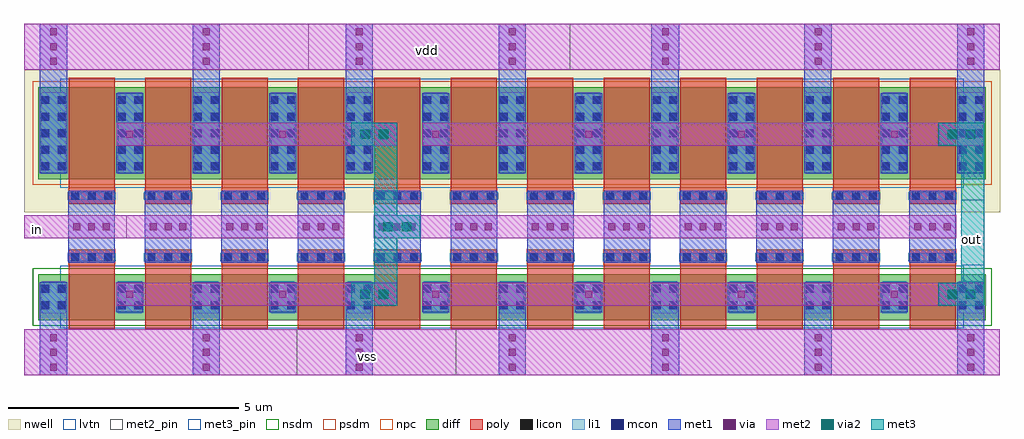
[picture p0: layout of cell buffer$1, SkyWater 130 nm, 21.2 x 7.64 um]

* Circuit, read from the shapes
.subckt buffer$1 in out vdd vss
XM1 n1 in vss VSUBS sky130_fd_pr__nfet_01v8_lvt w=1 l=1 m=4
XM2 out n1 vss VSUBS sky130_fd_pr__nfet_01v8_lvt w=1 l=1 m=8
XM3 n1 in vdd n2 sky130_fd_pr__pfet_01v8_lvt w=2 l=1 m=4
XM4 out n1 vdd n2 sky130_fd_pr__pfet_01v8_lvt w=2 l=1 m=8
.ends

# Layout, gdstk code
from math import pi, radians
import gdstk
lib = gdstk.Library(unit=1e-6, precision=5e-09)
def R(c, l, rs):  # rectangles x0, y0, x1, y1
    for r in rs: c.add(gdstk.rectangle(r[:2], r[2:], *l))
def A(c, l, x, y, w, h, nx, ny, dx, dy):  # array of equal rectangles
    R(c, l, [(x+i*dx, y+j*dy, x+i*dx+w, y+j*dy+h) for i in range(nx) for j in range(ny)])
nwell = (64, 20)
diff = (65, 20)
poly = (66, 20)
licon = (66, 44)
li1 = (67, 20)
mcon = (67, 44)
met1 = (68, 20)
via = (68, 44)
met2_pin = (69, 16)
met2 = (69, 20)
via2 = (69, 44)
met3_pin = (70, 16)
met3 = (70, 20)
nsdm = (93, 44)
psdm = (94, 20)
npc = (95, 20)
lvtn = (125, 44)

pfet_8 = lib.new_cell('pfet$8')
R(pfet_8, nwell, [(-0.305,-0.38,2.625,2.72)])
R(pfet_8, diff, [(0,0,2.32,2)])
R(pfet_8, poly, [(0.66,-0.2,1.66,2.2), (0.66,2.2,1.66,2.53)])
A(pfet_8, licon, 0.065, 0.195, 0.17, 0.17, 1, 5, 0, 0.36)
A(pfet_8, licon, 0.425, 0.195, 0.17, 0.17, 1, 5, 0, 0.36)
A(pfet_8, licon, 1.725, 0.195, 0.17, 0.17, 1, 5, 0, 0.36)
A(pfet_8, licon, 2.085, 0.195, 0.17, 0.17, 1, 5, 0, 0.36)
A(pfet_8, licon, 0.715, 2.28, 0.17, 0.17, 3, 1, 0.36, 0)
R(pfet_8, li1, [(0.065,0.115,0.595,1.885), (1.725,0.115,2.255,1.885), (0.635,2.28,1.685,2.45)])
A(pfet_8, mcon, 0.065, 0.195, 0.17, 0.17, 1, 5, 0, 0.36)
A(pfet_8, mcon, 0.425, 0.195, 0.17, 0.17, 1, 5, 0, 0.36)
A(pfet_8, mcon, 1.725, 0.195, 0.17, 0.17, 1, 5, 0, 0.36)
A(pfet_8, mcon, 2.085, 0.195, 0.17, 0.17, 1, 5, 0, 0.36)
A(pfet_8, mcon, 0.715, 2.28, 0.17, 0.17, 3, 1, 0.36, 0)
R(pfet_8, met1, [(0.035,0.135,0.625,1.865), (1.695,0.135,2.285,1.865), (0.655,2.25,1.665,2.48)])
R(pfet_8, psdm, [(-0.125,-0.125,2.445,2.125)])
R(pfet_8, npc, [(0.65,2.19,1.67,2.54)])
R(pfet_8, lvtn, [(0.48,-0.18,1.84,2.18)])

nfet_9 = lib.new_cell('nfet$9')
R(nfet_9, diff, [(0,0,2.32,1)])
R(nfet_9, poly, [(0.66,-0.2,1.66,1.2), (0.66,1.2,1.66,1.53)])
A(nfet_9, licon, 0.715, 1.28, 0.17, 0.17, 3, 1, 0.36, 0)
R(nfet_9, licon, [(0.065,0.235,0.235,0.405), (0.425,0.235,0.595,0.405), (1.725,0.235,1.895,0.405), (2.085,0.235,2.255,0.405), (0.065,0.595,0.235,0.765), (0.425,0.595,0.595,0.765), (1.725,0.595,1.895,0.765), (2.085,0.595,2.255,0.765)])
R(nfet_9, li1, [(0.065,0.155,0.595,0.845), (1.725,0.155,2.255,0.845), (0.635,1.28,1.685,1.45)])
A(nfet_9, mcon, 0.715, 1.28, 0.17, 0.17, 3, 1, 0.36, 0)
R(nfet_9, mcon, [(0.065,0.235,0.235,0.405), (0.425,0.235,0.595,0.405), (1.725,0.235,1.895,0.405), (2.085,0.235,2.255,0.405), (0.065,0.595,0.235,0.765), (0.425,0.595,0.595,0.765), (1.725,0.595,1.895,0.765), (2.085,0.595,2.255,0.765)])
R(nfet_9, met1, [(0.035,0.175,0.625,0.825), (1.695,0.175,2.285,0.825), (0.655,1.25,1.665,1.48)])
R(nfet_9, nsdm, [(-0.125,-0.125,2.445,1.125)])
R(nfet_9, npc, [(0.65,1.19,1.67,1.54)])
R(nfet_9, lvtn, [(0.48,-0.18,1.84,1.18)])

vias_gen_43 = lib.new_cell('vias_gen$43')
R(vias_gen_43, met1, [(0,0,1,0.5)])
A(vias_gen_43, via, 0.105, 0.175, 0.15, 0.15, 3, 1, 0.32, 0)
R(vias_gen_43, met2, [(0,0,1,0.5)])

vias_gen_3_8 = lib.new_cell('vias_gen$3$8')
R(vias_gen_3_8, met1, [(0,0,0.5,0.59)])
R(vias_gen_3_8, via, [(0.175,0.22,0.325,0.37)])
R(vias_gen_3_8, met2, [(0,0,0.5,0.59)])

vias_gen_5_1 = lib.new_cell('vias_gen$5$1')
R(vias_gen_5_1, met2, [(0,0,1,0.5)])
R(vias_gen_5_1, via2, [(0.2,0.15,0.4,0.35), (0.6,0.15,0.8,0.35)])
R(vias_gen_5_1, met3, [(0,0,1,0.5)])

vias_gen_45 = lib.new_cell('vias_gen$45')
R(vias_gen_45, met1, [(0,0,1,0.59)])
A(vias_gen_45, via, 0.105, 0.22, 0.15, 0.15, 3, 1, 0.32, 0)
R(vias_gen_45, met2, [(0,0,1,0.59)])

buffer_1 = lib.new_cell('buffer$1')
A(buffer_1, met1, 0.965, 2.45, 1.01, 1.56, 12, 1, 1.66, 0)
R(buffer_1, met2_pin, [(5.92,0,9.39,1), (0,2.98,2.23,3.48), (6.17,6.64,11.86,7.64)])
R(buffer_1, met3_pin, [(20.355,2.39,20.855,3.815)])
R(buffer_1, lvtn, [(0.79,1.02,20.41,2.38), (0.79,4.08,20.41,6.44)])
buffer_1.add(gdstk.FlexPath([(0.64,4.395),(0.64,7.64)], 0.59, ends="flush", simple_path=True, layer=68, datatype=20))  # met1
buffer_1.add(gdstk.FlexPath([(3.96,4.395),(3.96,7.64)], 0.59, ends="flush", simple_path=True, layer=68, datatype=20))  # met1
buffer_1.add(gdstk.FlexPath([(7.28,4.395),(7.28,7.64)], 0.59, ends="flush", simple_path=True, layer=68, datatype=20))  # met1
buffer_1.add(gdstk.FlexPath([(10.6,4.395),(10.6,7.64)], 0.59, ends="flush", simple_path=True, layer=68, datatype=20))  # met1
buffer_1.add(gdstk.FlexPath([(13.92,4.395),(13.92,7.64)], 0.59, ends="flush", simple_path=True, layer=68, datatype=20))  # met1
buffer_1.add(gdstk.FlexPath([(17.24,4.395),(17.24,7.64)], 0.59, ends="flush", simple_path=True, layer=68, datatype=20))  # met1
buffer_1.add(gdstk.FlexPath([(20.56,4.395),(20.56,7.64)], 0.59, ends="flush", simple_path=True, layer=68, datatype=20))  # met1
buffer_1.add(gdstk.FlexPath([(0.64,2.025),(0.64,0)], 0.59, ends="flush", simple_path=True, layer=68, datatype=20))  # met1
buffer_1.add(gdstk.FlexPath([(3.96,2.025),(3.96,0)], 0.59, ends="flush", simple_path=True, layer=68, datatype=20))  # met1
buffer_1.add(gdstk.FlexPath([(7.28,2.025),(7.28,0)], 0.59, ends="flush", simple_path=True, layer=68, datatype=20))  # met1
buffer_1.add(gdstk.FlexPath([(10.6,2.025),(10.6,0)], 0.59, ends="flush", simple_path=True, layer=68, datatype=20))  # met1
buffer_1.add(gdstk.FlexPath([(13.92,2.025),(13.92,0)], 0.59, ends="flush", simple_path=True, layer=68, datatype=20))  # met1
buffer_1.add(gdstk.FlexPath([(17.24,2.025),(17.24,0)], 0.59, ends="flush", simple_path=True, layer=68, datatype=20))  # met1
buffer_1.add(gdstk.FlexPath([(20.56,2.025),(20.56,0)], 0.59, ends="flush", simple_path=True, layer=68, datatype=20))  # met1
buffer_1.add(gdstk.FlexPath([(0,3.23),(6.955,3.23)], 0.5, ends="flush", simple_path=True, layer=69, datatype=20))  # met2
buffer_1.add(gdstk.FlexPath([(0,7.14),(21.19,7.14)], 1, ends="flush", simple_path=True, layer=69, datatype=20))  # met2
buffer_1.add(gdstk.FlexPath([(0,0.5),(21.19,0.5)], 1, ends="flush", simple_path=True, layer=69, datatype=20))  # met2
buffer_1.add(gdstk.FlexPath([(2.005,5.24),(8.105,5.24)], 0.5, ends="flush", simple_path=True, layer=69, datatype=20))  # met2
buffer_1.add(gdstk.FlexPath([(2.005,1.76),(8.105,1.76)], 0.5, ends="flush", simple_path=True, layer=69, datatype=20))  # met2
buffer_1.add(gdstk.FlexPath([(7.6,3.23),(20.24,3.23)], 0.5, ends="flush", simple_path=True, layer=69, datatype=20))  # met2
buffer_1.add(gdstk.FlexPath([(8.645,5.24),(20.855,5.24)], 0.5, ends="flush", simple_path=True, layer=69, datatype=20))  # met2
buffer_1.add(gdstk.FlexPath([(8.645,1.76),(20.855,1.76)], 0.5, ends="flush", simple_path=True, layer=69, datatype=20))  # met2
buffer_1.add(gdstk.FlexPath([(7.855,5.49),(7.855,1.51)], 0.5, ends="flush", simple_path=True, layer=70, datatype=20))  # met3
buffer_1.add(gdstk.FlexPath([(20.605,5.49),(20.605,1.51)], 0.5, ends="flush", simple_path=True, layer=70, datatype=20))  # met3
buffer_1.add(gdstk.Reference(pfet_8, (1.97,6.26), x_reflection=True))
buffer_1.add(gdstk.Reference(pfet_8, (0.31,6.26), x_reflection=True))
buffer_1.add(gdstk.Reference(pfet_8, (3.63,6.26), x_reflection=True))
buffer_1.add(gdstk.Reference(pfet_8, (5.29,6.26), x_reflection=True))
buffer_1.add(gdstk.Reference(nfet_9, (0.31,1.2)))
buffer_1.add(gdstk.Reference(nfet_9, (1.97,1.2)))
buffer_1.add(gdstk.Reference(nfet_9, (3.63,1.2)))
buffer_1.add(gdstk.Reference(nfet_9, (5.29,1.2)))
buffer_1.add(gdstk.Reference(pfet_8, (8.61,6.26), x_reflection=True))
buffer_1.add(gdstk.Reference(pfet_8, (6.95,6.26), x_reflection=True))
buffer_1.add(gdstk.Reference(pfet_8, (10.27,6.26), x_reflection=True))
buffer_1.add(gdstk.Reference(pfet_8, (11.93,6.26), x_reflection=True))
buffer_1.add(gdstk.Reference(pfet_8, (15.25,6.26), x_reflection=True))
buffer_1.add(gdstk.Reference(pfet_8, (13.59,6.26), x_reflection=True))
buffer_1.add(gdstk.Reference(pfet_8, (16.91,6.26), x_reflection=True))
buffer_1.add(gdstk.Reference(pfet_8, (18.57,6.26), x_reflection=True))
buffer_1.add(gdstk.Reference(nfet_9, (6.95,1.2)))
buffer_1.add(gdstk.Reference(nfet_9, (8.61,1.2)))
buffer_1.add(gdstk.Reference(nfet_9, (10.27,1.2)))
buffer_1.add(gdstk.Reference(nfet_9, (11.93,1.2)))
buffer_1.add(gdstk.Reference(nfet_9, (13.59,1.2)))
buffer_1.add(gdstk.Reference(nfet_9, (15.25,1.2)))
buffer_1.add(gdstk.Reference(nfet_9, (16.91,1.2)))
buffer_1.add(gdstk.Reference(nfet_9, (18.57,1.2)))
buffer_1.add(gdstk.Reference(vias_gen_43, (0.965,2.98)))
buffer_1.add(gdstk.Reference(vias_gen_43, (2.63,2.98)))
buffer_1.add(gdstk.Reference(vias_gen_43, (4.29,2.98)))
buffer_1.add(gdstk.Reference(vias_gen_43, (5.95,2.98)))
buffer_1.add(gdstk.Reference(vias_gen_3_8, (5.915,5.49), rotation=3*pi/2, x_reflection=True))
buffer_1.add(gdstk.Reference(vias_gen_3_8, (2.595,5.49), rotation=3*pi/2, x_reflection=True))
buffer_1.add(gdstk.Reference(vias_gen_3_8, (5.915,2.01), rotation=3*pi/2, x_reflection=True))
buffer_1.add(gdstk.Reference(vias_gen_3_8, (2.595,2.01), rotation=3*pi/2, x_reflection=True))
buffer_1.add(gdstk.Reference(vias_gen_43, (7.6,2.98)))
buffer_1.add(gdstk.Reference(vias_gen_43, (9.265,2.98)))
buffer_1.add(gdstk.Reference(vias_gen_43, (10.925,2.98)))
buffer_1.add(gdstk.Reference(vias_gen_43, (12.585,2.98)))
buffer_1.add(gdstk.Reference(vias_gen_43, (14.245,2.98)))
buffer_1.add(gdstk.Reference(vias_gen_43, (15.91,2.98)))
buffer_1.add(gdstk.Reference(vias_gen_43, (17.57,2.98)))
buffer_1.add(gdstk.Reference(vias_gen_43, (19.23,2.98)))
buffer_1.add(gdstk.Reference(vias_gen_5_1, (7.105,4.99)))
buffer_1.add(gdstk.Reference(vias_gen_3_8, (9.235,5.49), rotation=3*pi/2, x_reflection=True))
buffer_1.add(gdstk.Reference(vias_gen_5_1, (7.605,2.98)))
buffer_1.add(gdstk.Reference(vias_gen_5_1, (7.105,1.51)))
buffer_1.add(gdstk.Reference(vias_gen_3_8, (12.555,5.49), rotation=3*pi/2, x_reflection=True))
buffer_1.add(gdstk.Reference(vias_gen_3_8, (15.875,5.49), rotation=3*pi/2, x_reflection=True))
buffer_1.add(gdstk.Reference(vias_gen_3_8, (19.195,5.49), rotation=3*pi/2, x_reflection=True))
buffer_1.add(gdstk.Reference(vias_gen_3_8, (9.235,2.01), rotation=3*pi/2, x_reflection=True))
buffer_1.add(gdstk.Reference(vias_gen_3_8, (12.555,2.01), rotation=3*pi/2, x_reflection=True))
buffer_1.add(gdstk.Reference(vias_gen_3_8, (15.875,2.01), rotation=3*pi/2, x_reflection=True))
buffer_1.add(gdstk.Reference(vias_gen_3_8, (19.195,2.01), rotation=3*pi/2, x_reflection=True))
buffer_1.add(gdstk.Reference(vias_gen_5_1, (19.855,4.99)))
buffer_1.add(gdstk.Reference(vias_gen_5_1, (19.855,1.51)))
buffer_1.add(gdstk.Reference(vias_gen_45, (0.345,7.64), rotation=3*pi/2))
buffer_1.add(gdstk.Reference(vias_gen_45, (3.665,7.64), rotation=3*pi/2))
buffer_1.add(gdstk.Reference(vias_gen_45, (6.985,7.64), rotation=3*pi/2))
buffer_1.add(gdstk.Reference(vias_gen_45, (10.305,7.64), rotation=3*pi/2))
buffer_1.add(gdstk.Reference(vias_gen_45, (13.635,7.64), rotation=3*pi/2))
buffer_1.add(gdstk.Reference(vias_gen_45, (16.95,7.64), rotation=3*pi/2))
buffer_1.add(gdstk.Reference(vias_gen_45, (20.265,7.64), rotation=3*pi/2))
buffer_1.add(gdstk.Reference(vias_gen_45, (0.345,1), rotation=3*pi/2))
buffer_1.add(gdstk.Reference(vias_gen_45, (3.665,1), rotation=3*pi/2))
buffer_1.add(gdstk.Reference(vias_gen_45, (6.985,1), rotation=3*pi/2))
buffer_1.add(gdstk.Reference(vias_gen_45, (10.305,1), rotation=3*pi/2))
buffer_1.add(gdstk.Reference(vias_gen_45, (13.635,1), rotation=3*pi/2))
buffer_1.add(gdstk.Reference(vias_gen_45, (16.95,1), rotation=3*pi/2))
buffer_1.add(gdstk.Reference(vias_gen_45, (20.265,1), rotation=3*pi/2))
buffer_1.add(gdstk.Label('vdd', (8.755,7.065), layer=69, texttype=16))
buffer_1.add(gdstk.Label('vss', (7.45,0.415), layer=69, texttype=16))
buffer_1.add(gdstk.Label('in', (0.285,3.17), layer=69, texttype=16))
buffer_1.add(gdstk.Label('out', (20.58,2.95), layer=70, texttype=16))

lib.write_gds('buffer_1.gds')
